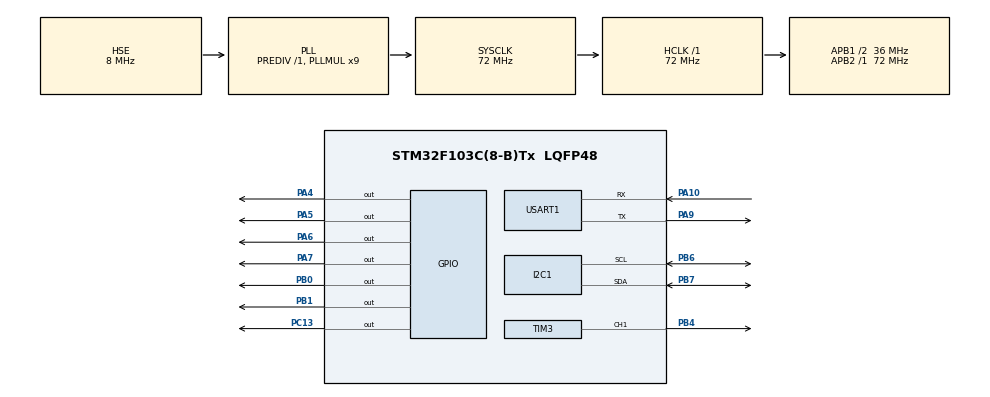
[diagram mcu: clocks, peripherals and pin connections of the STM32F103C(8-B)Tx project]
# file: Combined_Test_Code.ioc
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Dma.Request0=TIM3_CH1/TRIG
Dma.TIM3_CH1/TRIG.0.Direction=DMA_MEMORY_TO_PERIPH
Dma.TIM3_CH1/TRIG.0.Instance=DMA1_Channel6
Dma.TIM3_CH1/TRIG.0.MemDataAlignment=DMA_MDATAALIGN_HALFWORD
Dma.TIM3_CH1/TRIG.0.MemInc=DMA_MINC_ENABLE
Dma.TIM3_CH1/TRIG.0.Mode=DMA_NORMAL
Dma.TIM3_CH1/TRIG.0.PeriphDataAlignment=DMA_PDATAALIGN_HALFWORD
Dma.TIM3_CH1/TRIG.0.PeriphInc=DMA_PINC_DISABLE
Dma.TIM3_CH1/TRIG.0.Priority=DMA_PRIORITY_LOW
I2C1.I2C_Mode=I2C_Fast
Mcu.Family=STM32F1
Mcu.Name=STM32F103C(8-B)Tx
Mcu.Package=LQFP48
NVIC.DMA1_Channel6_IRQn=true\:0\:0\:false\:false\:true\:false\:true\:true
NVIC.PriorityGroup=NVIC_PRIORITYGROUP_4
PA10.Mode=Asynchronous
PA10.Signal=USART1_RX
PA4.Signal=GPIO_Output
PA5.Signal=GPIO_Output
PA6.Signal=GPIO_Output
PA7.Signal=GPIO_Output
PA9.Mode=Asynchronous
PA9.Signal=USART1_TX
PB0.Signal=GPIO_Output
PB1.Signal=GPIO_Output
PB4.Signal=S_TIM3_CH1
PB6.Mode=I2C
PB6.Signal=I2C1_SCL
PB7.Mode=I2C
PB7.Signal=I2C1_SDA
PC13-TAMPER-RTC.Signal=GPIO_Output
PD0-OSC_IN.Mode=HSE-External-Oscillator
PD0-OSC_IN.Signal=RCC_OSC_IN
PD1-OSC_OUT.Mode=HSE-External-Oscillator
PD1-OSC_OUT.Signal=RCC_OSC_OUT
ProjectManager.HeapSize=0x200
ProjectManager.StackSize=0x400
ProjectManager.TargetToolchain=STM32CubeIDE
RCC.AHBFreq_Value=72000000
RCC.APB1CLKDivider=RCC_HCLK_DIV2
RCC.APB1Freq_Value=36000000
RCC.APB1TimFreq_Value=72000000
RCC.APB2Freq_Value=72000000
RCC.APB2TimFreq_Value=72000000
RCC.HCLKFreq_Value=72000000
RCC.PLLMUL=RCC_PLL_MUL9
RCC.PLLSourceVirtual=RCC_PLLSOURCE_HSE
RCC.SYSCLKFreq_VALUE=72000000
RCC.SYSCLKSource=RCC_SYSCLKSOURCE_PLLCLK
RCC.USBFreq_Value=72000000
SH.S_TIM3_CH1.0=TIM3_CH1,PWM Generation1 CH1
TIM3.Channel-PWM\ Generation1\ CH1=TIM_CHANNEL_1
TIM3.Period=3-1
TIM3.Prescaler=30-1
USART1.VirtualMode=VM_ASYNC
VP_SYS_VS_ND.Mode=No_Debug
board=custom

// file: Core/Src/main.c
/* USER CODE BEGIN Header */
/**
  ******************************************************************************
  * @file           : main.c
  * @brief          : Main program body
  ******************************************************************************
  * @attention
  *
  * Copyright (c) 2025 STMicroelectronics.
  * All rights reserved.
  *
  * This software is licensed under terms that can be found in the LICENSE file
  * in the root directory of this software component.
  * If no LICENSE file comes with this software, it is provided AS-IS.
  *
  ******************************************************************************
  */
/* USER CODE END Header */
#include "main.h"

/* USER CODE BEGIN Includes */
#include "lcd.h"
#include <stdlib.h>

/* USER CODE END Includes */

I2C_HandleTypeDef hi2c1;

TIM_HandleTypeDef htim3;
DMA_HandleTypeDef hdma_tim3_ch1_trig;

UART_HandleTypeDef huart1;

/* USER CODE BEGIN PV */
char display[50]; 		//Variable to store display value
int display_counter;    // to store integer value for displaying on LCD
int red=0, green=0, blue=0;				// Variable to store Color Sensor Red
char ATcommand[64];
char ATcommandB[1250];??::::::::::::::::::::::::>?:?>"?":?:"?:"?:"?:"??:?:
char ATcommandN[1024];
char ATcommandF[1024];
char ATcommandT[16];
int countB;
int countN ;
int countF;
int countT;

/* USER CODE END PV */

void SystemClock_Config(void);
static void MX_GPIO_Init(void);
static void MX_DMA_Init(void);
static void MX_I2C1_Init(void);
static void MX_USART1_UART_Init(void);
static void MX_TIM3_Init(void);
/* USER CODE BEGIN PFP */
void parseRGBValues(char *request);
void updateHTMLWithRGB(void);
/* USER CODE END PFP */

/* USER CODE BEGIN 0 */

#define noOfLEDs 24
uint16_t pwmData[24*noOfLEDs];

void HAL_TIM_PWM_PulseFinishedCallback(TIM_HandleTypeDef *htim)
{
    HAL_TIM_PWM_Stop_DMA(&htim3, TIM_CHANNEL_1);
    htim3.Instance->CCR1 = 0;
}

void resetAllLED (void)
{
    for (int i=0; i<24*noOfLEDs; i++) pwmData[i] = 1;

}

void setAllLED (void)
{
    for (int i=0; i<24*noOfLEDs; i++) pwmData[i] = 2;
}

void setLED (int LEDposition, int Red, int Green, int Blue)
{
    for (int i=7; i>=0; i--) // Set the first 8 out of 24 to green
    {
        pwmData[24*LEDposition + 7 - i] = ((Green >> i) & 1) + 1;
    }
    for (int i=7; i>=0; i--) // Set the second 8 out of 24 to red
    {
        pwmData[24*LEDposition + 15 - i] = ((Red >> i) & 1) + 1;
    }
    for (int i=7; i>=0; i--) // Set the third 8 out of 24 to blue
    {
        pwmData[24*LEDposition + 23 - i] = ((Blue >> i) & 1) + 1;
    }
}

void ws2812Send(void)
{
    HAL_TIM_PWM_Start_DMA(&htim3, TIM_CHANNEL_1, (uint32_t *)pwmData, 24*noOfLEDs);
}

// Function to parse RGB values from HTTP request
void parseRGBValues(char *request) {
    char *r_ptr = strstr(request, "r=");
    char *g_ptr = strstr(request, "g=");
    char *b_ptr = strstr(request, "b=");

    if (r_ptr) {
        r_ptr += 2; // Move past "r="
        red = atoi(r_ptr);
        // Clamp to 0-255
        if (red < 0) red = 0;
        if (red > 255) red = 255;
    }

    if (g_ptr) {
        g_ptr += 2; // Move past "g="
        green = atoi(g_ptr);
        if (green < 0) green = 0;
        if (green > 255) green = 255;
    }

    if (b_ptr) {
        b_ptr += 2; // Move past "b="
        blue = atoi(b_ptr);
        if (blue < 0) blue = 0;
        if (blue > 255) blue = 255;
    }

    // Here you can add code to actually control your RGB hardware
    // For example, if you have PWM outputs for RGB LEDs:
    // setRGBPWM(red, green, blue);
}

// Function to update HTML strings with current RGB values
void updateHTMLWithRGB(void) {
    // Update the ON state HTML
    sprintf(ATcommandN,"<p>Light is currently on\
    </p><a class=\"button button-off\" href=\"/lightoff\">OFF</a>\
    <div class=\"rgb-form\">\
    <h3>RGB Color Control</h3>\
    <form action=\"/setrgb\" method=\"GET\">\
    R: <input class=\"rgb-input\" type=\"number\" name=\"r\" min=\"0\" max=\"255\" value=\"%d\">\
    G: <input class=\"rgb-input\" type=\"number\" name=\"g\" min=\"0\" max=\"255\" value=\"%d\">\
    B: <input class=\"rgb-input\" type=\"number\" name=\"b\" min=\"0\" max=\"255\" value=\"%d\">\
    <br><input class=\"rgb-submit\" type=\"submit\" value=\"Set RGB\">\
    </form>\
    </div>", red, green, blue);

    // Update the OFF state HTML
    sprintf(ATcommandF,"<p>Light is currently off\
    </p><a class=\"button button-on\" href=\"/lighton\">ON</a>\
    <div class=\"rgb-form\">\
    <h3>RGB Color Control</h3>\
    <form action=\"/setrgb\" method=\"GET\">\
    R: <input class=\"rgb-input\" type=\"number\" name=\"r\" min=\"0\" max=\"255\" value=\"%d\">\
    G: <input class=\"rgb-input\" type=\"number\" name=\"g\" min=\"0\" max=\"255\" value=\"%d\">\
    B: <input class=\"rgb-input\" type=\"number\" name=\"b\" min=\"0\" max=\"255\" value=\"%d\">\
    <br><input class=\"rgb-submit\" type=\"submit\" value=\"Set RGB\">\
    </form>\
    </div>", red, green, blue);

    // Update string lengths
    countN = strlen(ATcommandN);
    countF = strlen(ATcommandF);
}
/* USER CODE BEGIN 0 */

/* USER CODE END 0 */

int main(void)
{

  /* MCU Configuration--------------------------------------------------------*/

  /* Reset of all peripherals, Initializes the Flash interface and the Systick. */
  HAL_Init();

  /* Configure the system clock */
  SystemClock_Config();

  /* Initialize all configured peripherals */
  MX_GPIO_Init();
  MX_DMA_Init();
  MX_I2C1_Init();
  MX_USART1_UART_Init();
  MX_TIM3_Init();
  /* USER CODE BEGIN 2 */

  // Lcd_PortType ports[] = { D4_GPIO_Port, D5_GPIO_Port, D6_GPIO_Port, D7_GPIO_Port };
  Lcd_PortType ports[] = { GPIOA, GPIOA, GPIOB, GPIOB };
  // Lcd_PinType pins[] = {D4_Pin, D5_Pin, D6_Pin, D7_Pin};
  Lcd_PinType pins[] = {GPIO_PIN_6, GPIO_PIN_7, GPIO_PIN_0, GPIO_PIN_1};
  Lcd_HandleTypeDef lcd;
  // Lcd_create(ports, pins, RS_GPIO_Port, RS_Pin, EN_GPIO_Port, EN_Pin, LCD_4_BIT_MODE);
  lcd = Lcd_create(ports, pins, GPIOA, GPIO_PIN_4, GPIOA, GPIO_PIN_5, LCD_4_BIT_MODE);
  Lcd_cursor(&lcd, 0,1);
  Lcd_string(&lcd, "HHH");
  HAL_Delay(500);
  display_counter = 0;

  //WIFI Initialisation

  uint8_t rxBuffer[512] = {0};
   uint8_t ATisOK;
   int channel;
   int onoff;
   int led = 1;

   setLED(17, 150, 0, 0 );   // Yellow
   ws2812Send();

   sprintf(ATcommandB,"<!DOCTYPE html><html>\n<head>\n\
   <title>STM32 - ESP8266</title>\n<link href=\"data:image/x-icon;base64,\
   A\" rel=\"icon\" type=\"image/x-icon\"><style>\nhtml {\
   display: inline-block; margin: 0px auto; text-align: center;}\n\
   body{margin-top: 50px;}\n.button {display: block;\n\
   width: 70px;\nbackground-color: #008000;\nborder: none;\ncolor: white;\n\
   padding: 14px 28px;\ntext-decoration: none;\nfont-size: 24px;\n\
   margin: 0px auto 36px; \nborder-radius: 5px;}\n\
   .button-on {background-color: #008000;}\n.button-on:active\
   {background-color: #008000;}\n.button-off {background-color: #808080;}\n\
   .button-off:active {background-color: #808080;}\n\
   .rgb-form {margin: 20px 0; padding: 20px; border: 1px solid #ccc; border-radius: 5px;}\n\
   .rgb-input {margin: 10px; width: 60px; text-align: center;}\n\
   .rgb-submit {background-color: #007bff; color: white; border: none; padding: 10px 20px; border-radius: 3px; cursor: pointer;}\n\
   p {font-size: 14px;color: #808080;margin-bottom: 20px;}\n\
   </style>\n</head>\n<body>\n<h1>STM32 - ESP8266</h1>");

   sprintf(ATcommandN,"<p>Light is currently on\
   </p><a class=\"button button-off\" href=\"/lightoff\">OFF</a>\
   <div class=\"rgb-form\">\
   <h3>RGB Color Control</h3>\
   <form action=\"/setrgb\" method=\"GET\">\
   R: <input class=\"rgb-input\" type=\"number\" name=\"r\" min=\"0\" max=\"255\" value=\"%d\">\
   G: <input class=\"rgb-input\" type=\"number\" name=\"g\" min=\"0\" max=\"255\" value=\"%d\">\
   B: <input class=\"rgb-input\" type=\"number\" name=\"b\" min=\"0\" max=\"255\" value=\"%d\">\
   <br><input class=\"rgb-submit\" type=\"submit\" value=\"Set RGB\">\
   </form>\
   </div>", red, green, blue);

   sprintf(ATcommandF,"<p>Light is currently off\
   </p><a class=\"button button-on\" href=\"/lighton\">ON</a>\
   <div class=\"rgb-form\">\
   <h3>RGB Color Control</h3>\
   <form action=\"/setrgb\" method=\"GET\">\
   R: <input class=\"rgb-input\" type=\"number\" name=\"r\" min=\"0\" max=\"255\" value=\"%d\">\
   G: <input class=\"rgb-input\" type=\"number\" name=\"g\" min=\"0\" max=\"255\" value=\"%d\">\
   B: <input class=\"rgb-input\" type=\"number\" name=\"b\" min=\"0\" max=\"255\" value=\"%d\">\
   <br><input class=\"rgb-submit\" type=\"submit\" value=\"Set RGB\">\
   </form>\
   </div>", red, green, blue);
   sprintf(ATcommandT,"</body></html>");
   int countB = strlen(ATcommandB);
   int countN = strlen(ATcommandN);
   int countF = strlen(ATcommandF);
   int countT = strlen(ATcommandT);

   sprintf(ATcommand,"AT+RST\r\n");
   memset(rxBuffer,0,sizeof(rxBuffer));
   HAL_UART_Transmit(&huart1,(uint8_t *)ATcommand,strlen(ATcommand),1000);
   HAL_UART_Receive (&huart1, rxBuffer, 512, 100);
   HAL_Delay(500);

   ATisOK = 0;
   while(!ATisOK){
     sprintf(ATcommand,"AT+CWMODE_CUR=2\r\n");
       memset(rxBuffer,0,sizeof(rxBuffer));
       HAL_UART_Transmit(&huart1,(uint8_t *)ATcommand,strlen(ATcommand),1000);
       HAL_UART_Receive (&huart1, rxBuffer, 512, 1000);
     if(strstr((char *)rxBuffer,"OK")){
       ATisOK = 1;
     }
     HAL_Delay(500);
   }

   ATisOK = 0;
   while(!ATisOK){
     sprintf(ATcommand,"AT+CWSAP_CUR=\"STM32\",\"123456789\",1,3,4,0\r\n");
       memset(rxBuffer,0,sizeof(rxBuffer));
       HAL_UART_Transmit(&huart1,(uint8_t *)ATcommand,strlen(ATcommand),1000);
       HAL_UART_Receive (&huart1, rxBuffer, 512, 1000);
     if(strstr((char *)rxBuffer,"OK")){
       ATisOK = 1;
     }
     HAL_Delay(500);
   }

   ATisOK = 0;
   while(!ATisOK){
     sprintf(ATcommand,"AT+CIPAP_CUR=\"192.168.51.1\"\r\n");
     memset(rxBuffer,0,sizeof(rxBuffer));
     HAL_UART_Transmit(&huart1,(uint8_t *)ATcommand,strlen(ATcommand),1000);
     HAL_UART_Receive (&huart1, rxBuffer, 512, 1000);
     if(strstr((char *)rxBuffer,"OK")){
       ATisOK = 1;
     }
     HAL_Delay(500);
   }

   ATisOK = 0;
   while(!ATisOK){
     sprintf(ATcommand,"AT+CIPMUX=1\r\n");
       memset(rxBuffer,0,sizeof(rxBuffer));
       HAL_UART_Transmit(&huart1,(uint8_t *)ATcommand,strlen(ATcommand),1000);
       HAL_UART_Receive (&huart1, rxBuffer, 512, 1000);
       if(strstr((char *)rxBuffer,"OK")){
         ATisOK = 1;
       }
       HAL_Delay(500);
   }

   ATisOK = 0;
   while(!ATisOK){
     sprintf(ATcommand,"AT+CIPSERVER=1,80\r\n");
     memset(rxBuffer,0,sizeof(rxBuffer));
     HAL_UART_Transmit(&huart1,(uint8_t *)ATcommand,strlen(ATcommand),1000);
     HAL_UART_Receive (&huart1, rxBuffer, 512, 1000);
     if(strstr((char *)rxBuffer,"OK")){
         ATisOK = 1;
     }
     HAL_Delay(500);
   }

  /* USER CODE END 2 */

  /* Infinite loop */
  /* USER CODE BEGIN WHILE */
  while (1)
  {
	  memset(rxBuffer,0,sizeof(rxBuffer));
	      HAL_UART_Receive (&huart1, rxBuffer, 512, 1000);

	      // Parse channel
	      if(strstr((char *)rxBuffer,"+IPD,0")) channel = 0;
	      else if(strstr((char *)rxBuffer,"+IPD,1")) channel = 1;
	      else if(strstr((char *)rxBuffer,"+IPD,2")) channel = 2;
	      else if(strstr((char *)rxBuffer,"+IPD,3")) channel = 3;
	      else if(strstr((char *)rxBuffer,"+IPD,4")) channel = 4;
	      else if(strstr((char *)rxBuffer,"+IPD,5")) channel = 5;
	      else if(strstr((char *)rxBuffer,"+IPD,6")) channel = 6;
	      else if(strstr((char *)rxBuffer,"+IPD,7")) channel = 7;
	      else channel = 100;

	      // Parse commands including RGB
	      if(strstr((char *)rxBuffer,"GET /lighton")) onoff = 0;
	      else if(strstr((char *)rxBuffer,"GET /lightoff")) onoff = 1;
	      else if(strstr((char *)rxBuffer,"GET /setrgb"))
	      {
	          // Parse RGB values from the request
	          parseRGBValues((char *)rxBuffer);
	          onoff = led; // Keep current LED state
	      }
	      else onoff = led;

	      // Update HTML with current RGB values
	      updateHTMLWithRGB();

	      if(channel<8 && (onoff == 1 || strstr((char *)rxBuffer,"GET /setrgb")))
	      {
	          HAL_GPIO_WritePin(GPIOC, GPIO_PIN_13, GPIO_PIN_SET);
	          led = 1;
	          sprintf(ATcommand,"AT+CIPSEND=%d,%d\r\n",channel,countB+countF+countT);
	          memset(rxBuffer,0,sizeof(rxBuffer));
	          HAL_UART_Transmit(&huart1,(uint8_t *)ATcommand,strlen(ATcommand),1000);
	          HAL_UART_Receive (&huart1, rxBuffer, 512, 100);
	          if(strstr((char *)rxBuffer,">"))
	          {
	              memset(rxBuffer,0,sizeof(rxBuffer));
	              HAL_UART_Transmit(&huart1,(uint8_t *)ATcommandB,countB,1000);
	              HAL_UART_Transmit(&huart1,(uint8_t *)ATcommandF,countF,1000);
	              HAL_UART_Transmit(&huart1,(uint8_t *)ATcommandT,countT,1000);
	              HAL_UART_Receive (&huart1, rxBuffer, 512, 100);
	          }
	          sprintf(ATcommand,"AT+CIPCLOSE=%d\r\n",channel);
	          memset(rxBuffer,0,sizeof(rxBuffer));
	          HAL_UART_Transmit(&huart1,(uint8_t *)ATcommand,strlen(ATcommand),1000);
	          HAL_UART_Receive (&huart1, rxBuffer, 512, 100);
	          channel=100;
	      }
	      else if(channel<8 && onoff == 0)
	      {
	          HAL_GPIO_WritePin(GPIOC, GPIO_PIN_13, GPIO_PIN_RESET);
	          led = 0;
	          sprintf(ATcommand,"AT+CIPSEND=%d,%d\r\n",channel,countB+countN+countT);
	          memset(rxBuffer,0,sizeof(rxBuffer));
	          HAL_UART_Transmit(&huart1,(uint8_t *)ATcommand,strlen(ATcommand),1000);
	          HAL_UART_Receive (&huart1, rxBuffer, 512, 100);
	          if(strstr((char *)rxBuffer,">"))
	          {
	              memset(rxBuffer,0,sizeof(rxBuffer));
	              HAL_UART_Transmit(&huart1,(uint8_t *)ATcommandB,countB,1000);
	              HAL_UART_Transmit(&huart1,(uint8_t *)ATcommandN,countN,1000);
	              HAL_UART_Transmit(&huart1,(uint8_t *)ATcommandT,countT,1000);
	              HAL_UART_Receive (&huart1, rxBuffer, 512, 100);
	          }
	          sprintf(ATcommand,"AT+CIPCLOSE=%d\r\n",channel);
	          memset(rxBuffer,0,sizeof(rxBuffer));
	          HAL_UART_Transmit(&huart1,(uint8_t *)ATcommand,strlen(ATcommand),1000);
	          HAL_UART_Receive (&huart1, rxBuffer, 512, 100);
	          channel=100;
	      }

	      // Update LCD display with RGB values
	      sprintf(display, "R  G  B %d", display_counter);
	      Lcd_cursor(&lcd, 0, 0);
	      Lcd_string(&lcd, display);

	      sprintf(display, "%d %d %d    ", red, green, blue);
	      Lcd_cursor(&lcd, 1, 0);
	      Lcd_string(&lcd, display);

	      int i=0;
	      while( i< noOfLEDs){
			  setLED(i, red, green, blue );   // Yellow
			  ws2812Send();
			  i++;
	      }

	      display_counter = (display_counter + 1) % 9;
	      HAL_Delay(100);

    /* USER CODE END WHILE */

  }
}

void SystemClock_Config(void)
{
  RCC_OscInitTypeDef RCC_OscInitStruct = {0};
  RCC_ClkInitTypeDef RCC_ClkInitStruct = {0};

  /** Initializes the RCC Oscillators according to the specified parameters
  * in the RCC_OscInitTypeDef structure.
  */
  RCC_OscInitStruct.OscillatorType = RCC_OSCILLATORTYPE_HSE;
  RCC_OscInitStruct.HSEState = RCC_HSE_ON;
  RCC_OscInitStruct.HSEPredivValue = RCC_HSE_PREDIV_DIV1;
  RCC_OscInitStruct.HSIState = RCC_HSI_ON;
  RCC_OscInitStruct.PLL.PLLState = RCC_PLL_ON;
  RCC_OscInitStruct.PLL.PLLSource = RCC_PLLSOURCE_HSE;
  RCC_OscInitStruct.PLL.PLLMUL = RCC_PLL_MUL9;
  if (HAL_RCC_OscConfig(&RCC_OscInitStruct) != HAL_OK)
  {
    Error_Handler();
  }

  /** Initializes the CPU, AHB and APB buses clocks
  */
  RCC_ClkInitStruct.ClockType = RCC_CLOCKTYPE_HCLK|RCC_CLOCKTYPE_SYSCLK
                              |RCC_CLOCKTYPE_PCLK1|RCC_CLOCKTYPE_PCLK2;
  RCC_ClkInitStruct.SYSCLKSource = RCC_SYSCLKSOURCE_PLLCLK;
  RCC_ClkInitStruct.AHBCLKDivider = RCC_SYSCLK_DIV1;
  RCC_ClkInitStruct.APB1CLKDivider = RCC_HCLK_DIV2;
  RCC_ClkInitStruct.APB2CLKDivider = RCC_HCLK_DIV1;

  if (HAL_RCC_ClockConfig(&RCC_ClkInitStruct, FLASH_LATENCY_2) != HAL_OK)
  {
    Error_Handler();
  }
}

static void MX_I2C1_Init(void)
{

  hi2c1.Instance = I2C1;
  hi2c1.Init.ClockSpeed = 400000;
  hi2c1.Init.DutyCycle = I2C_DUTYCYCLE_2;
  hi2c1.Init.OwnAddress1 = 0;
  hi2c1.Init.AddressingMode = I2C_ADDRESSINGMODE_7BIT;
  hi2c1.Init.DualAddressMode = I2C_DUALADDRESS_DISABLE;
  hi2c1.Init.OwnAddress2 = 0;
  hi2c1.Init.GeneralCallMode = I2C_GENERALCALL_DISABLE;
  hi2c1.Init.NoStretchMode = I2C_NOSTRETCH_DISABLE;
  if (HAL_I2C_Init(&hi2c1) != HAL_OK)
  {
    Error_Handler();
  }

}

static void MX_TIM3_Init(void)
{

  TIM_MasterConfigTypeDef sMasterConfig = {0};
  TIM_OC_InitTypeDef sConfigOC = {0};

  htim3.Instance = TIM3;
  htim3.Init.Prescaler = 30-1;
  htim3.Init.CounterMode = TIM_COUNTERMODE_UP;
  htim3.Init.Period = 3-1;
  htim3.Init.ClockDivision = TIM_CLOCKDIVISION_DIV1;
  htim3.Init.AutoReloadPreload = TIM_AUTORELOAD_PRELOAD_DISABLE;
  if (HAL_TIM_PWM_Init(&htim3) != HAL_OK)
  {
    Error_Handler();
  }
  sMasterConfig.MasterOutputTrigger = TIM_TRGO_RESET;
  sMasterConfig.MasterSlaveMode = TIM_MASTERSLAVEMODE_DISABLE;
  if (HAL_TIMEx_MasterConfigSynchronization(&htim3, &sMasterConfig) != HAL_OK)
  {
    Error_Handler();
  }
  sConfigOC.OCMode = TIM_OCMODE_PWM1;
  sConfigOC.Pulse = 0;
  sConfigOC.OCPolarity = TIM_OCPOLARITY_HIGH;
  sConfigOC.OCFastMode = TIM_OCFAST_DISABLE;
  if (HAL_TIM_PWM_ConfigChannel(&htim3, &sConfigOC, TIM_CHANNEL_1) != HAL_OK)
  {
    Error_Handler();
  }
  HAL_TIM_MspPostInit(&htim3);

}

static void MX_USART1_UART_Init(void)
{

  huart1.Instance = USART1;
  huart1.Init.BaudRate = 115200;
  huart1.Init.WordLength = UART_WORDLENGTH_8B;
  huart1.Init.StopBits = UART_STOPBITS_1;
  huart1.Init.Parity = UART_PARITY_NONE;
  huart1.Init.Mode = UART_MODE_TX_RX;
  huart1.Init.HwFlowCtl = UART_HWCONTROL_NONE;
  huart1.Init.OverSampling = UART_OVERSAMPLING_16;
  if (HAL_UART_Init(&huart1) != HAL_OK)
  {
    Error_Handler();
  }

}

static void MX_DMA_Init(void)
{

  /* DMA controller clock enable */
  __HAL_RCC_DMA1_CLK_ENABLE();

  /* DMA interrupt init */
  /* DMA1_Channel6_IRQn interrupt configuration */
  HAL_NVIC_SetPriority(DMA1_Channel6_IRQn, 0, 0);
  HAL_NVIC_EnableIRQ(DMA1_Channel6_IRQn);

}

static void MX_GPIO_Init(void)
{
  GPIO_InitTypeDef GPIO_InitStruct = {0};

  /* GPIO Ports Clock Enable */
  __HAL_RCC_GPIOC_CLK_ENABLE();
  __HAL_RCC_GPIOD_CLK_ENABLE();
  __HAL_RCC_GPIOA_CLK_ENABLE();
  __HAL_RCC_GPIOB_CLK_ENABLE();

  /*Configure GPIO pin Output Level */
  HAL_GPIO_WritePin(GPIOC, GPIO_PIN_13, GPIO_PIN_RESET);

  /*Configure GPIO pin Output Level */
  HAL_GPIO_WritePin(GPIOA, GPIO_PIN_4|GPIO_PIN_5|GPIO_PIN_6|GPIO_PIN_7, GPIO_PIN_RESET);

  /*Configure GPIO pin Output Level */
  HAL_GPIO_WritePin(GPIOB, GPIO_PIN_0|GPIO_PIN_1, GPIO_PIN_RESET);

  /*Configure GPIO pin : PC13 */
  GPIO_InitStruct.Pin = GPIO_PIN_13;
  GPIO_InitStruct.Mode = GPIO_MODE_OUTPUT_PP;
  GPIO_InitStruct.Pull = GPIO_NOPULL;
  GPIO_InitStruct.Speed = GPIO_SPEED_FREQ_LOW;
  HAL_GPIO_Init(GPIOC, &GPIO_InitStruct);

  /*Configure GPIO pins : PA4 PA5 PA6 PA7 */
  GPIO_InitStruct.Pin = GPIO_PIN_4|GPIO_PIN_5|GPIO_PIN_6|GPIO_PIN_7;
  GPIO_InitStruct.Mode = GPIO_MODE_OUTPUT_PP;
  GPIO_InitStruct.Pull = GPIO_NOPULL;
  GPIO_InitStruct.Speed = GPIO_SPEED_FREQ_LOW;
  HAL_GPIO_Init(GPIOA, &GPIO_InitStruct);

  /*Configure GPIO pins : PB0 PB1 */
  GPIO_InitStruct.Pin = GPIO_PIN_0|GPIO_PIN_1;
  GPIO_InitStruct.Mode = GPIO_MODE_OUTPUT_PP;
  GPIO_InitStruct.Pull = GPIO_NOPULL;
  GPIO_InitStruct.Speed = GPIO_SPEED_FREQ_LOW;
  HAL_GPIO_Init(GPIOB, &GPIO_InitStruct);

}

void Error_Handler(void)
{
  __disable_irq();
  while (1)
  {
  }
}
